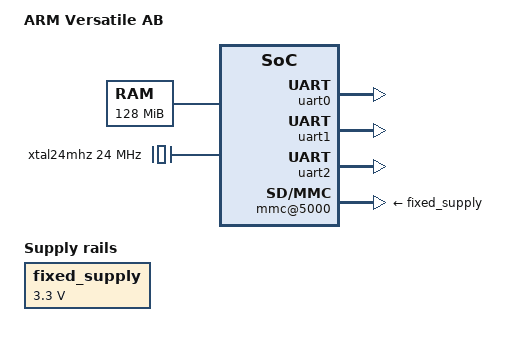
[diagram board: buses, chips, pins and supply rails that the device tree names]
// SPDX-License-Identifier: GPL-2.0
/dts-v1/;

/ {
	model = "ARM Versatile AB";
	compatible = "arm,versatile-ab";
	#address-cells = <1>;
	#size-cells = <1>;
	interrupt-parent = <&vic>;

	aliases {
		serial0 = &uart0;
		serial1 = &uart1;
		serial2 = &uart2;
	};

	chosen {
		stdout-path = &uart0;
	};

	memory {
		device_type = "memory";
		reg = <0x0 0x08000000>;
	};

	xtal24mhz: xtal24mhz@24M {
		#clock-cells = <0>;
		compatible = "fixed-clock";
		clock-frequency = <24000000>;
	};

	core-module@10000000 {
		compatible = "arm,core-module-versatile", "syscon", "simple-mfd";
		reg = <0x10000000 0x200>;

		led@08.0 {
			compatible = "register-bit-led";
			offset = <0x08>;
			mask = <0x01>;
			label = "versatile:0";
			linux,default-trigger = "heartbeat";
			default-state = "on";
		};
		led@08.1 {
			compatible = "register-bit-led";
			offset = <0x08>;
			mask = <0x02>;
			label = "versatile:1";
			linux,default-trigger = "mmc0";
			default-state = "off";
		};
		led@08.2 {
			compatible = "register-bit-led";
			offset = <0x08>;
			mask = <0x04>;
			label = "versatile:2";
			linux,default-trigger = "cpu0";
			default-state = "off";
		};
		led@08.3 {
			compatible = "register-bit-led";
			offset = <0x08>;
			mask = <0x08>;
			label = "versatile:3";
			default-state = "off";
		};
		led@08.4 {
			compatible = "register-bit-led";
			offset = <0x08>;
			mask = <0x10>;
			label = "versatile:4";
			default-state = "off";
		};
		led@08.5 {
			compatible = "register-bit-led";
			offset = <0x08>;
			mask = <0x20>;
			label = "versatile:5";
			default-state = "off";
		};
		led@08.6 {
			compatible = "register-bit-led";
			offset = <0x08>;
			mask = <0x40>;
			label = "versatile:6";
			default-state = "off";
		};
		led@08.7 {
			compatible = "register-bit-led";
			offset = <0x08>;
			mask = <0x80>;
			label = "versatile:7";
			default-state = "off";
		};

		/* OSC1 on AB, OSC4 on PB */
		osc1: cm_aux_osc@24M {
			#clock-cells = <0>;
			compatible = "arm,versatile-cm-auxosc";
			clocks = <&xtal24mhz>;
		};

		/* The timer clock is the 24 MHz oscillator divided to 1MHz */
		timclk: timclk@1M {
			#clock-cells = <0>;
			compatible = "fixed-factor-clock";
			clock-div = <24>;
			clock-mult = <1>;
			clocks = <&xtal24mhz>;
		};

		pclk: pclk@24M {
			#clock-cells = <0>;
			compatible = "fixed-factor-clock";
			clock-div = <1>;
			clock-mult = <1>;
			clocks = <&xtal24mhz>;
		};
	};

	fixed_supply: fixed-regulator {
		compatible = "regulator-fixed";
		regulator-name = "3V3";
		regulator-min-microvolt = <3300000>;
		regulator-max-microvolt = <3300000>;
		regulator-always-on;
	};

	amba {
		compatible = "simple-bus";
		#address-cells = <1>;
		#size-cells = <1>;
		ranges;

		vic: intc@10140000 {
			compatible = "arm,versatile-vic";
			interrupt-controller;
			#interrupt-cells = <1>;
			reg = <0x10140000 0x1000>;
			clear-mask = <0xffffffff>;
			valid-mask = <0xffffffff>;
		};

		sic: intc@10003000 {
			compatible = "arm,versatile-sic";
			interrupt-controller;
			#interrupt-cells = <1>;
			reg = <0x10003000 0x1000>;
			interrupt-parent = <&vic>;
			interrupts = <31>; /* Cascaded to vic */
			clear-mask = <0xffffffff>;
			/*
			 * Valid interrupt lines mask according to
			 * table 4-36 page 4-50 of ARM DUI 0225D
			 */
			valid-mask = <0x7fe003ff>;
		};

		uart0: uart@101f1000 {
			compatible = "arm,pl011", "arm,primecell";
			reg = <0x101f1000 0x1000>;
			interrupts = <12>;
			clocks = <&xtal24mhz>, <&pclk>;
			clock-names = "uartclk", "apb_pclk";
		};

		uart1: uart@101f2000 {
			compatible = "arm,pl011", "arm,primecell";
			reg = <0x101f2000 0x1000>;
			interrupts = <13>;
			clocks = <&xtal24mhz>, <&pclk>;
			clock-names = "uartclk", "apb_pclk";
		};

		uart2: uart@101f3000 {
			compatible = "arm,pl011", "arm,primecell";
			reg = <0x101f3000 0x1000>;
			interrupts = <14>;
			clocks = <&xtal24mhz>, <&pclk>;
			clock-names = "uartclk", "apb_pclk";
		};


		timer@101e2000 {
			compatible = "arm,sp804", "arm,primecell";
			reg = <0x101e2000 0x1000>;
			interrupts = <4>;
			clocks = <&timclk>, <&timclk>, <&pclk>;
			clock-names = "timer0", "timer1", "apb_pclk";
		};

		timer@101e3000 {
			compatible = "arm,sp804", "arm,primecell";
			reg = <0x101e3000 0x1000>;
			interrupts = <5>;
			clocks = <&timclk>, <&timclk>, <&pclk>;
			clock-names = "timer0", "timer1", "apb_pclk";
		};

		fpga {
			compatible = "arm,versatile-fpga", "simple-bus";
			#address-cells = <1>;
			#size-cells = <1>;
			ranges = <0 0x10000000 0x10000>;

			sysreg@0 {
				compatible = "arm,versatile-sysreg", "syscon", "simple-mfd";
				reg = <0x00000 0x1000>;
			};

			mmc@5000 {
				compatible = "arm,pl180", "arm,primecell";
				reg = <0x5000 0x1000>;
				interrupts = <22>, <23>;
				vmmc-supply = <&fixed_supply>;
				max-frequency = <12000000>;
				clocks = <&xtal24mhz>, <&pclk>;
				clock-names = "mclk", "apb_pclk";
			};
		};
	};
};
